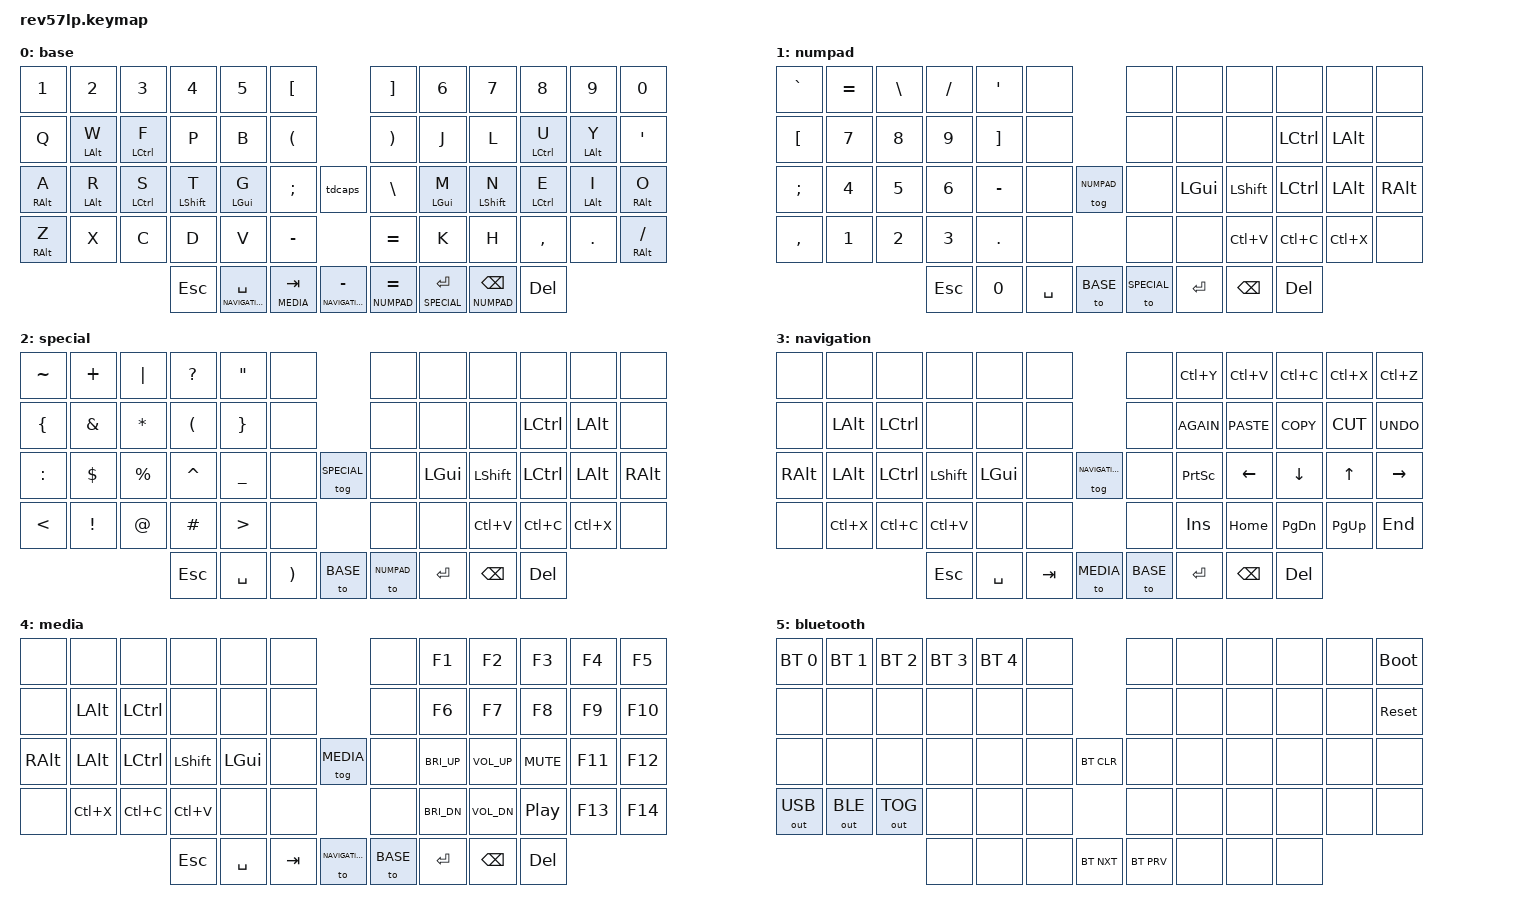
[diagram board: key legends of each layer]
/*
 * Copyright (c) 2022 The ZMK Contributors
 *
 * SPDX-License-Identifier: MIT
 */

#include <behaviors.dtsi>
#include <dt-bindings/zmk/keys.h>
#include <dt-bindings/zmk/bt.h>
#include <dt-bindings/zmk/outputs.h>

#define BASE       0
#define NUMPAD     1
#define SPECIAL    2
#define NAVIGATION 3
#define MEDIA      4
#define BLUETOOTH  5

/ {
    behaviors {
        tdcaps: tap_dance_caps {
            compatible = "zmk,behavior-tap-dance";
            label = "TAP_DANCE_CAPS";
            #binding-cells = <0>;
            tapping-term-ms = <200>;
            bindings = <&caps_word>, <&kp CAPSLOCK>;
        };

        mhm: my_homerow_mod {
            compatible = "zmk,behavior-hold-tap";
            label = "MY_HOMEROW_MOD";
            #binding-cells = <2>;
            flavor = "balanced";
            tapping-term-ms = <175>;
            quick-tap-ms = <175>;
            require-prior-idle-ms = <75>;
            bindings = <&kp>, <&kp>;
        };

        mlt: my_layer_toggle {
            compatible = "zmk,behavior-hold-tap";
            label = "MY_LAYER_TOGGLE";
            #binding-cells = <2>;
            flavor = "tap-preferred";
            tapping-term-ms = <200>;
            quick-tap-ms = <200>;
            require-prior-idle-ms = <75>;
            bindings = <&mo>, <&kp>;
        };
    };

    combos {
        compatible = "zmk,combos";

        combo_lbrc {
            timeout-ms = <50>;
            key-positions = <16 28>;
            bindings = <&kp LBRC>;
        };

        combo_rbrc {
            timeout-ms = <50>;
            key-positions = <19 32>;
            bindings = <&kp RBRC>;
        };

        combo_lpar {
            timeout-ms = <50>;
            key-positions = <15 27>;
            bindings = <&kp LPAR>;
        };

        combo_rpar {
            timeout-ms = <50>;
            key-positions = <20 33>;
            bindings = <&kp RPAR>;
        };


        combo_toggle_bluetooth {
            timeout-ms = <50>;
            key-positions = <48 56>;
            layers = <BASE BLUETOOTH>;
            bindings = <&tog BLUETOOTH>;
        };

    };

    keymap {
        compatible = "zmk,keymap";
        base {
            bindings = <
                &kp N1      &kp N2      &kp N3      &kp N4      &kp N5      &kp LBKT                            &kp RBKT    &kp N6      &kp N7      &kp N8      &kp N9      &kp N0    
                &kp Q       &mhm LALT W &mhm LCTRL F &kp P      &kp B       &kp LPAR                            &kp RPAR    &kp J       &kp L       &mhm LCTRL U &mhm LALT Y &kp SQT   
                &mhm RALT A &mhm LALT R &mhm LCTRL S &mhm LSHFT T &mhm LGUI G &kp SEMI          &tdcaps         &kp BSLH    &mhm LGUI M &mhm LSHFT N &mhm LCTRL E &mhm LALT I &mhm RALT O
                &mhm RALT Z &kp X       &kp C       &kp D       &kp V       &kp MINUS                           &kp EQUAL   &kp K       &kp H       &kp COMMA   &kp DOT     &mhm RALT SLASH 
                                        &kp ESC &mlt NAVIGATION SPACE &mlt MEDIA TAB &mlt NAVIGATION MINUS &mlt NUMPAD EQUAL &mlt SPECIAL ENTER &mlt NUMPAD BSPC &kp DELETE
                >;
        };

        numpad {
            bindings = <
                &kp GRAVE   &kp EQUAL   &kp BSLH    &kp SLASH   &kp SQT     &none                               &none       &none       &none       &none       &none       &none       
                &kp LBKT    &kp N7      &kp N8      &kp N9      &kp RBKT    &none                               &none       &none       &none       &kp LCTRL   &kp LALT    &none       
                &kp SEMI    &kp N4      &kp N5      &kp N6      &kp MINUS   &none             &tog NUMPAD       &none       &kp LGUI    &kp LSHFT   &kp LCTRL   &kp LALT    &kp RALT    
                &kp COMMA   &kp N1      &kp N2      &kp N3      &kp DOT     &none                               &none       &none       &kp LC(V)   &kp LC(C)   &kp LC(X)   &none       
                                                    &kp ESC     &kp N0      &kp SPACE   &to BASE    &to SPECIAL &kp ENTER   &kp BSPC    &kp DELETE
                >;
        };

        special {
            bindings = <
                &kp TILDE   &kp PLUS    &kp PIPE    &kp QMARK   &kp DQT     &none                               &none       &none       &none       &none       &none       &none       
                &kp LBRC    &kp AMPS    &kp STAR    &kp LPAR    &kp RBRC    &none                               &none       &none       &none       &kp LCTRL   &kp LALT    &none       
                &kp COLON   &kp DLLR    &kp PRCNT   &kp CARET   &kp UNDER   &none             &tog SPECIAL      &none       &kp LGUI    &kp LSHFT   &kp LCTRL   &kp LALT    &kp RALT    
                &kp LT      &kp EXCL    &kp AT      &kp HASH    &kp GT      &none                               &none       &none       &kp LC(V)   &kp LC(C)   &kp LC(X)   &none       
                                                    &kp ESC     &kp SPACE   &kp RPAR    &to BASE    &to NUMPAD  &kp ENTER   &kp BSPC    &kp DELETE
                >;
        };

        navigation {
            bindings = <
                &none       &none       &none       &none       &none       &none                               &none       &kp LC(Y)   &kp LC(V)   &kp LC(C)   &kp LC(X)   &kp LC(Z)   
                &none       &kp LALT    &kp LCTRL   &none       &none       &none                               &none       &kp K_AGAIN &kp K_PASTE &kp K_COPY  &kp K_CUT   &kp K_UNDO  
                &kp RALT    &kp LALT    &kp LCTRL   &kp LSHFT   &kp LGUI    &none             &tog NAVIGATION   &none       &kp PSCRN   &kp LEFT    &kp DOWN    &kp UP      &kp RIGHT   
                &none       &kp LC(X)   &kp LC(C)   &kp LC(V)   &none       &none                               &none       &kp INS     &kp HOME    &kp PG_DN   &kp PG_UP   &kp END     
                                                    &kp ESC     &kp SPACE   &kp TAB     &to MEDIA   &to BASE    &kp ENTER   &kp BSPC    &kp DELETE
                >;
        };

        media {
            bindings = <
                &none       &none       &none       &none       &none       &none                               &none       &kp F1      &kp F2      &kp F3      &kp F4      &kp F5      
                &none       &kp LALT    &kp LCTRL   &none       &none       &none                               &none       &kp F6      &kp F7      &kp F8      &kp F9      &kp F10     
                &kp RALT    &kp LALT    &kp LCTRL   &kp LSHFT   &kp LGUI    &none             &tog MEDIA        &none       &kp C_BRI_UP &kp C_VOL_UP &kp C_MUTE &kp F11    &kp F12     
                &none       &kp LC(X)   &kp LC(C)   &kp LC(V)   &none       &none                               &none       &kp C_BRI_DN &kp C_VOL_DN &kp C_PP  &kp F13     &kp F14     
                                                    &kp ESC     &kp SPACE   &kp TAB   &to NAVIGATION &to BASE   &kp ENTER   &kp BSPC    &kp DELETE
                >;
        };


        bluetooth {
            bindings = <
                &bt BT_SEL 0 &bt BT_SEL 1 &bt BT_SEL 2 &bt BT_SEL 3 &bt BT_SEL 4 &none                          &none       &none       &none       &none       &none       &bootloader
                &none       &none       &none       &none       &none       &none                               &none       &none       &none       &none       &none       &sys_reset
                &none       &none       &none       &none       &none       &none             &bt BT_CLR        &none       &none       &none       &none       &none       &none
                &out OUT_USB &out OUT_BLE &out OUT_TOG &none    &none       &none                               &none       &none       &none       &none       &none       &none
                                        &none       &none       &none       &bt BT_NXT                          &bt BT_PRV  &none       &none       &none
                >;
        };
    };
};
